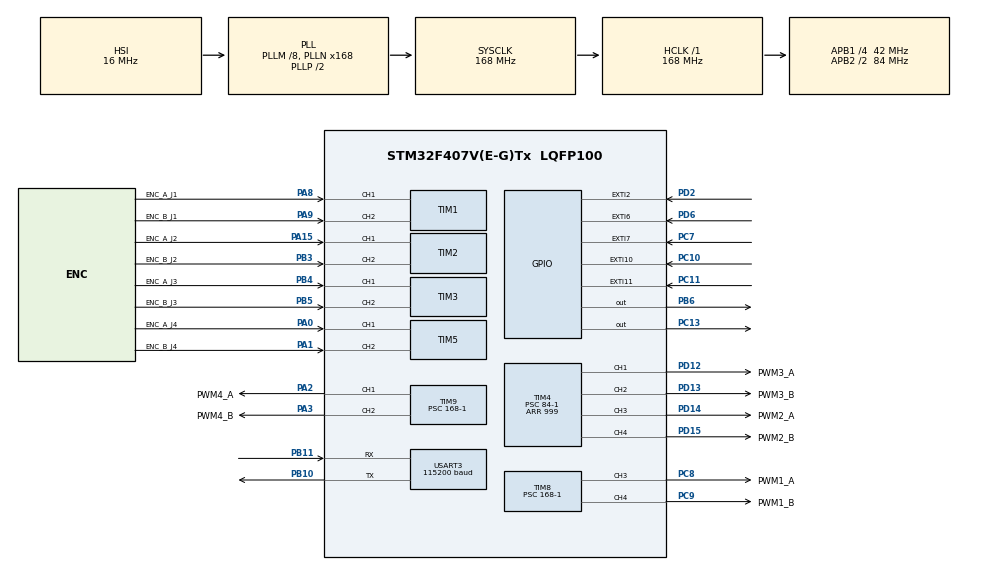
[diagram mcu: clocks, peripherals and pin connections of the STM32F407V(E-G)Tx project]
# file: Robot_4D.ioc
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Dma.Request0=USART3_RX
Dma.USART3_RX.0.Direction=DMA_PERIPH_TO_MEMORY
Dma.USART3_RX.0.FIFOMode=DMA_FIFOMODE_DISABLE
Dma.USART3_RX.0.Instance=DMA1_Stream1
Dma.USART3_RX.0.MemDataAlignment=DMA_MDATAALIGN_BYTE
Dma.USART3_RX.0.MemInc=DMA_MINC_ENABLE
Dma.USART3_RX.0.Mode=DMA_NORMAL
Dma.USART3_RX.0.PeriphDataAlignment=DMA_PDATAALIGN_BYTE
Dma.USART3_RX.0.PeriphInc=DMA_PINC_DISABLE
Dma.USART3_RX.0.Priority=DMA_PRIORITY_MEDIUM
Mcu.Family=STM32F4
Mcu.Name=STM32F407V(E-G)Tx
Mcu.Package=LQFP100
NVIC.DMA1_Stream1_IRQn=true\:3\:0\:true\:false\:true\:false\:true\:true
NVIC.EXTI15_10_IRQn=true\:1\:0\:true\:false\:true\:true\:true\:true
NVIC.EXTI2_IRQn=true\:1\:0\:true\:false\:true\:true\:true\:true
NVIC.EXTI9_5_IRQn=true\:1\:0\:true\:false\:true\:true\:true\:true
NVIC.PriorityGroup=NVIC_PRIORITYGROUP_4
NVIC.TIM1_BRK_TIM9_IRQn=true\:2\:0\:true\:false\:true\:true\:true\:true
NVIC.USART3_IRQn=true\:0\:0\:false\:false\:true\:true\:true\:true
PA0-WKUP.GPIO_Label=ENC_A_J4
PA0-WKUP.Signal=S_TIM5_CH1
PA1.GPIO_Label=ENC_B_J4
PA1.Signal=S_TIM5_CH2
PA13.Mode=Serial_Wire
PA13.Signal=SYS_JTMS-SWDIO
PA14.Mode=Serial_Wire
PA14.Signal=SYS_JTCK-SWCLK
PA15.GPIO_Label=ENC_A_J2
PA15.Signal=S_TIM2_CH1_ETR
PA2.GPIO_Label=PWM4_A
PA2.Signal=S_TIM9_CH1
PA3.GPIO_Label=PWM4_B
PA3.Signal=S_TIM9_CH2
PA8.GPIO_Label=ENC_A_J1
PA8.Signal=S_TIM1_CH1
PA9.GPIO_Label=ENC_B_J1
PA9.Signal=S_TIM1_CH2
PB10.Mode=Asynchronous
PB10.Signal=USART3_TX
PB11.Mode=Asynchronous
PB11.Signal=USART3_RX
PB3.GPIO_Label=ENC_B_J2
PB3.Signal=S_TIM2_CH2
PB4.GPIO_Label=ENC_A_J3
PB4.Signal=S_TIM3_CH1
PB5.GPIO_Label=ENC_B_J3
PB5.Signal=S_TIM3_CH2
PB6.Signal=GPIO_Output
PC10.GPIO_ModeDefaultEXTI=GPIO_MODE_IT_RISING
PC10.GPIO_PuPd=GPIO_PULLUP
PC10.Signal=GPXTI10
PC11.GPIO_ModeDefaultEXTI=GPIO_MODE_IT_RISING
PC11.GPIO_PuPd=GPIO_PULLUP
PC11.Signal=GPXTI11
PC13-ANTI_TAMP.Signal=GPIO_Output
PC7.GPIO_ModeDefaultEXTI=GPIO_MODE_IT_RISING
PC7.GPIO_PuPd=GPIO_PULLUP
PC7.Signal=GPXTI7
PC8.GPIO_Label=PWM1_A
PC8.Signal=S_TIM8_CH3
PC9.GPIO_Label=PWM1_B
PC9.Signal=S_TIM8_CH4
PD12.GPIO_Label=PWM3_A
PD12.Signal=S_TIM4_CH1
PD13.GPIO_Label=PWM3_B
PD13.Signal=S_TIM4_CH2
PD14.GPIO_Label=PWM2_A
PD14.Signal=S_TIM4_CH3
PD15.GPIO_Label=PWM2_B
PD15.Signal=S_TIM4_CH4
PD2.GPIO_ModeDefaultEXTI=GPIO_MODE_IT_RISING
PD2.GPIO_PuPd=GPIO_PULLUP
PD2.Signal=GPXTI2
PD6.GPIO_ModeDefaultEXTI=GPIO_MODE_IT_RISING
PD6.GPIO_PuPd=GPIO_PULLUP
PD6.Signal=GPXTI6
ProjectManager.HeapSize=0x200
ProjectManager.StackSize=0x400
ProjectManager.TargetToolchain=STM32CubeIDE
RCC.48MHZClocksFreq_Value=84000000
RCC.AHBFreq_Value=168000000
RCC.APB1CLKDivider=RCC_HCLK_DIV4
RCC.APB1Freq_Value=42000000
RCC.APB1TimFreq_Value=84000000
RCC.APB2CLKDivider=RCC_HCLK_DIV2
RCC.APB2Freq_Value=84000000
RCC.APB2TimFreq_Value=168000000
RCC.CortexFreq_Value=168000000
RCC.HCLKFreq_Value=168000000
RCC.HSE_VALUE=8000000
RCC.HSI_VALUE=16000000
RCC.LSE_VALUE=32768
RCC.PLLM=8
RCC.PLLN=168
RCC.SYSCLKFreq_VALUE=168000000
RCC.SYSCLKSource=RCC_SYSCLKSOURCE_PLLCLK
RCC.VCOOutputFreq_Value=336000000
SH.S_TIM1_CH1.0=TIM1_CH1,Encoder_Interface
SH.S_TIM1_CH2.0=TIM1_CH2,Encoder_Interface
SH.S_TIM2_CH1_ETR.0=TIM2_CH1,Encoder_Interface
SH.S_TIM2_CH2.0=TIM2_CH2,Encoder_Interface
SH.S_TIM3_CH1.0=TIM3_CH1,Encoder_Interface
SH.S_TIM3_CH2.0=TIM3_CH2,Encoder_Interface
SH.S_TIM4_CH1.0=TIM4_CH1,PWM Generation1 CH1
SH.S_TIM4_CH2.0=TIM4_CH2,PWM Generation2 CH2
SH.S_TIM4_CH3.0=TIM4_CH3,PWM Generation3 CH3
SH.S_TIM4_CH4.0=TIM4_CH4,PWM Generation4 CH4
SH.S_TIM5_CH1.0=TIM5_CH1,Encoder_Interface
SH.S_TIM5_CH2.0=TIM5_CH2,Encoder_Interface
SH.S_TIM8_CH3.0=TIM8_CH3,PWM Generation3 CH3
SH.S_TIM8_CH4.0=TIM8_CH4,PWM Generation4 CH4
SH.S_TIM9_CH1.0=TIM9_CH1,PWM Generation1 CH1
SH.S_TIM9_CH2.0=TIM9_CH2,PWM Generation2 CH2
TIM1.EncoderMode=TIM_ENCODERMODE_TI12
TIM2.EncoderMode=TIM_ENCODERMODE_TI12
TIM3.EncoderMode=TIM_ENCODERMODE_TI12
TIM4.Channel-PWM\ Generation1\ CH1=TIM_CHANNEL_1
TIM4.Channel-PWM\ Generation2\ CH2=TIM_CHANNEL_2
TIM4.Channel-PWM\ Generation3\ CH3=TIM_CHANNEL_3
TIM4.Channel-PWM\ Generation4\ CH4=TIM_CHANNEL_4
TIM4.Period=999
TIM4.Prescaler=84-1
TIM5.EncoderMode=TIM_ENCODERMODE_TI12
TIM8.Channel-PWM\ Generation3\ CH3=TIM_CHANNEL_3
TIM8.Channel-PWM\ Generation4\ CH4=TIM_CHANNEL_4
TIM8.Period=999
TIM8.Prescaler=168-1
TIM9.Channel-PWM\ Generation1\ CH1=TIM_CHANNEL_1
TIM9.Channel-PWM\ Generation2\ CH2=TIM_CHANNEL_2
TIM9.Period=999
TIM9.Prescaler=168-1
USART3.BaudRate=115200
USART3.VirtualMode=VM_ASYNC
VP_TIM4_VS_ClockSourceINT.Mode=Internal
VP_TIM8_VS_ClockSourceINT.Mode=Internal
VP_TIM9_VS_ClockSourceINT.Mode=Internal
board=custom

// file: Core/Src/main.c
/* USER CODE BEGIN Header */
/**
  ******************************************************************************
  * @file           : main.c
  * @brief          : Main program body
  ******************************************************************************
  * @attention
  *
  * Copyright (c) 2023 STMicroelectronics.
  * All rights reserved.
  *
  * This software is licensed under terms that can be found in the LICENSE file
  * in the root directory of this software component.
  * If no LICENSE file comes with this software, it is provided AS-IS.
  *
  ******************************************************************************
  */
/* USER CODE END Header */
#include "main.h"

/* USER CODE BEGIN Includes */
#include "MOTOR_PID_CONTROL.h"
#include <string.h>
#include <stdio.h>
#include <math.h>
/* USER CODE END Includes */

TIM_HandleTypeDef htim1;
TIM_HandleTypeDef htim2;
TIM_HandleTypeDef htim3;
TIM_HandleTypeDef htim4;
TIM_HandleTypeDef htim5;
TIM_HandleTypeDef htim8;
TIM_HandleTypeDef htim9;

UART_HandleTypeDef huart3;
DMA_HandleTypeDef hdma_usart3_rx;

/* USER CODE BEGIN PV */

#define MAX_MESG 100
char uartLogBuffer[MAX_MESG];
uint8_t flag_uart_rx = 0;
uint16_t uartLogRxSize;
float t1, t2, t3, t4;
uint8_t setHomeOk = 0;
uint8_t setHomeJ1 = 0, setHomeJ2 = 0, setHomeJ3 = 0, setHomeJ4 = 0;
typedef enum
{
	step1,
	step2,
	step3,
	step4
} setHomeState_e;

setHomeState_e flagState = step1;
uint8_t setHome234Flag = 0;
uint8_t setHome1234Flag = 0;
MOTOR_t motor1;
MOTOR_t motor2;
MOTOR_t motor3;
MOTOR_t motor4;

MOTOR_DRIVER_t driver1 = {
  .htimPWM = &htim8,
  .htimENC = &htim1,
  .EncCount = 0,
  .PWM_CH1 = TIM_CHANNEL_4,
  .PWM_CH2 = TIM_CHANNEL_3,
  .ENC_CH1 = TIM_CHANNEL_1,
  .ENC_CH2 = TIM_CHANNEL_2,
  .speed = 0,
  .pos = 0,
  .preSpeed = 0,
  .prePos = 0,
  .ratio = 33
 };
MOTOR_DRIVER_t driver2 = {
  .htimPWM = &htim4,
  .htimENC = &htim2,
  .EncCount = 0,
  .PWM_CH1 = TIM_CHANNEL_4,
  .PWM_CH2 = TIM_CHANNEL_3,
  .ENC_CH1 = TIM_CHANNEL_1,
  .ENC_CH2 = TIM_CHANNEL_2,
  .speed = 0,
  .pos = 0,
  .preSpeed = 0,
  .prePos = 0,
  .ratio = 33
};
MOTOR_DRIVER_t driver3 = {
  .htimPWM = &htim4,
  .htimENC = &htim3,
  .EncCount = 0,
  .PWM_CH1 = TIM_CHANNEL_1,
  .PWM_CH2 = TIM_CHANNEL_2,
  .ENC_CH1 = TIM_CHANNEL_1,
  .ENC_CH2 = TIM_CHANNEL_2,
  .speed = 0,
  .pos = 0,
  .preSpeed = 0,
  .prePos = 0,
  .ratio = 33
};
MOTOR_DRIVER_t driver4 = {
  .htimPWM = &htim9,
  .htimENC = &htim5,
  .EncCount = 0,
  .PWM_CH1 = TIM_CHANNEL_2,
  .PWM_CH2 = TIM_CHANNEL_1,
  .ENC_CH1 = TIM_CHANNEL_1,
  .ENC_CH2 = TIM_CHANNEL_2,
  .speed = 0,
  .pos = 0,
  .preSpeed = 0,
  .prePos = 0,
  .ratio = 4.34
};

/* USER CODE END PV */

void SystemClock_Config(void);
static void MX_GPIO_Init(void);
static void MX_DMA_Init(void);
static void MX_TIM1_Init(void);
static void MX_TIM2_Init(void);
static void MX_TIM3_Init(void);
static void MX_TIM4_Init(void);
static void MX_TIM5_Init(void);
static void MX_TIM8_Init(void);
static void MX_TIM9_Init(void);
static void MX_USART3_UART_Init(void);

/* USER CODE BEGIN 0 */
float T1, T2, T3, T4;
uint16_t Tf=4000;
float setpoint1, setpoint2, setpoint3, setpoint4;
float preSetpoint1, preSetpoint2, preSetpoint3, preSetpoint4;
float p0_1=0, p0_2=0, p0_3=0, p0_4=0;

void UART_Handle(char* data)
{
  if (flag_uart_rx == 1 && strstr(data, "\n"))
  {
	if (strstr(data, "t1"))
	{
		sscanf(data, "t1:%f,t2:%f,t3:%f,t4:%f\n", &setpoint1, &setpoint2, &setpoint3, &setpoint4);
//      sscanf(data, "t1:%f,t2:%f,t3:%f,t4:%f\n", &t1, &t2, &t3, &t4);
//      MOTOR_setAngle(&motor1, t1);
//      MOTOR_setAngle(&motor2, t2);
//      MOTOR_setAngle(&motor3, t3);
//      MOTOR_setAngle(&motor4, t4);
	}
	else if (strstr(data, "home"))
	{
		setHome234Flag = 1;
		setHome1234Flag = 1;
		setHomeJ1 = setHomeJ2 = setHomeJ3 = setHomeJ4 = 0;
		if(setHomeOk == 0) MOTOR_setAngle(&motor2, 300);
	}
	else if(strstr(data,"Reset"))
	{
		HAL_NVIC_SystemReset();
	}
	  flag_uart_rx = 0;
	  memset(data, 0, strlen(data));
  }
}
void UartIdle_Init()
{
  HAL_UARTEx_ReceiveToIdle_DMA(&huart3, (uint8_t*)uartLogBuffer, MAX_MESG);
  __HAL_DMA_DISABLE_IT(&hdma_usart3_rx, DMA_IT_HT);
}
void HAL_UARTEx_RxEventCallback(UART_HandleTypeDef* huart, uint16_t Size)
{
  if (huart->Instance == USART3)
  {
    uartLogRxSize = Size;
    flag_uart_rx = 1;
    HAL_UARTEx_ReceiveToIdle_DMA(huart, (uint8_t*)uartLogBuffer, MAX_MESG);
  }
}

float p(float p0, float pf, float tf, float v0, float vf, float T)
{
    return p0+v0*T+(3*(pf-p0)/(tf*tf)-2*v0/tf-vf/tf)*(T*T)+(-2*(pf-p0)/(tf*tf*tf)+(vf+v0)/(tf*tf))*(T*T*T);
}

void HAL_TIM_PeriodElapsedCallback(TIM_HandleTypeDef* htim)
{
	if(htim == &htim9)
	{
	  HAL_GPIO_TogglePin(GPIOC, GPIO_PIN_13);
	  static uint8_t mode = 0;
	  switch (mode)
	  {
	  case 0:
		if(T1 <= Tf)
		{
			T1 += 5;
			MOTOR_setAngle(&motor1, p(p0_1, setpoint1, Tf, 0, 0, T1));
		}
		MOTOR_runAngle(&motor1);
		mode = 1;
		break;
	  case 1:
		if(T2 <= Tf)
		{
			T2 += 5;
			MOTOR_setAngle(&motor2, p(p0_2, setpoint2, Tf, 0, 0, T2));
		}
		MOTOR_runAngle(&motor2);
		mode = 2;
		break;
	  case 2:
		if(T3 <= Tf)
		{
			T3 += 5;
			MOTOR_setAngle(&motor3, p(p0_3, setpoint3, Tf, 0, 0, T3));
		}
		MOTOR_runAngle(&motor3);
		mode = 3;
		break;
	  case 3:
		if(T4 <= Tf)
		{
			T4 += 5;
			MOTOR_setAngle(&motor4, p(p0_4, setpoint4, Tf, 0, 0, T4));
		}
		MOTOR_runAngle(&motor4);
		mode = 4;
		break;
	  case 4:
		if(setpoint1 != preSetpoint1)
		{
			T1 = 0;
			p0_1=MOTOR_getPos(&motor1);
			preSetpoint1 = setpoint1;
		}
		if(setpoint2 != preSetpoint2)
		{
			T2 = 0;
			p0_2=MOTOR_getPos(&motor2);
			preSetpoint2 = setpoint2;
		}
		if(setpoint3 != preSetpoint3)
		{
			T3 = 0;
			p0_3=MOTOR_getPos(&motor3);
			preSetpoint3 = setpoint3;
		}
		if(setpoint4 != preSetpoint4)
		{
			T4 = 0;
			p0_4=MOTOR_getPos(&motor4);
			preSetpoint4 = setpoint4;
		}
		mode = 0;
		break;
	  default:
		break;
	  }
	}
}

void SetHome(void)
{
	if(setHome1234Flag == 1 && setHomeOk == 0)
	{
		if (setHomeJ1 == 1 && setHomeJ2 == 1 && setHomeJ3 == 1 && setHomeJ4 == 1)
		{
			MOTOR_setAngle(&motor1, 0);
			MOTOR_setAngle(&motor2, -180);
			MOTOR_setAngle(&motor3, 130);
			MOTOR_setAngle(&motor4, -72);
			if(fabs(MOTOR_getPos(&motor2) + 180) < 1 && fabs(MOTOR_getPos(&motor3) - 130) < 1 && fabs(MOTOR_getPos(&motor4) + 72) < 1)
			{
				setHome234Flag = 0;
				setHome1234Flag = 0;
				setHomeOk = 1;
				MOTOR_reset(&motor2);
				MOTOR_reset(&motor3);
				MOTOR_reset(&motor4);
			}
		}
		else if(setHomeJ2 == 1 && setHomeJ3 == 1 && setHomeJ4 == 1)
		{
			if(fabs(motor1.setPoint) <= 2)
			{
				MOTOR_setAngle(&motor1, -45.0f);
			}
			else if(fabs(MOTOR_getPos(&motor1) + 45.0f) < 2 && (int)(motor1.setPoint / motor1.ratioJoint) == -45)
			{
				MOTOR_setAngle(&motor1, 45.0f);
			}
			else if(fabs(MOTOR_getPos(&motor1) - 45.0f) < 2 && (int)(motor1.setPoint / motor1.ratioJoint) == 45)
			{
				MOTOR_setAngle(&motor1, -100.0f);
			}
			else if(fabs(MOTOR_getPos(&motor1) + 100.0f) < 2)
			{
				MOTOR_setAngle(&motor1, 100.0f);
			}
		}
		if(HAL_GPIO_ReadPin(GPIOC, GPIO_PIN_7) == 1 && setHomeJ1 == 0)
		{
			setHomeJ1 = 1;
			MOTOR_reset(&motor1);
		}
		if(HAL_GPIO_ReadPin(GPIOC, GPIO_PIN_11) == 1 && setHomeJ2 == 0)
		{
			setHomeJ2 = 1;
			MOTOR_reset(&motor2);
		}
		if(HAL_GPIO_ReadPin(GPIOD, GPIO_PIN_2) == 0 && setHomeJ3 == 0)
		{
			setHomeJ3 = 1;
			MOTOR_reset(&motor3);
		}
		if(HAL_GPIO_ReadPin(GPIOD, GPIO_PIN_6) == 0 && setHomeJ4 == 0)
		{
			setHomeJ4 = 1;
			MOTOR_reset(&motor4);
		}
	}
	else if(setHome1234Flag == 1 && setHomeOk == 1)
	{
//		MOTOR_setAngle(&motor1, 0);
//		MOTOR_setAngle(&motor2, 0);
//		MOTOR_setAngle(&motor3, 0);
//		MOTOR_setAngle(&motor4, 0);
		setpoint1 = 0;
		setpoint2 = 0;
		setpoint3 = 0;
		setpoint4 = 0;
		setHome1234Flag = 0;
	}
}
void HAL_GPIO_EXTI_Callback(uint16_t GPIO_Pin)
{
	if(setHome1234Flag == 1 && setHomeOk == 0)
	{
		if(GPIO_Pin == GPIO_PIN_11 && setHomeJ2 == 0)
		{
			setHomeJ2 = 1;
			MOTOR_reset(&motor2);
			if(setHomeJ3 == 0)
			{
				MOTOR_setAngle(&motor3, -200);
			}
			if(setHomeJ4 == 0)
			{
				MOTOR_setAngle(&motor4, 200);
			}
		}
		else if(GPIO_Pin == GPIO_PIN_2 && setHomeJ3 == 0)
		{
			setHomeJ3 = 1;
			MOTOR_reset(&motor3);

		}
		else if(GPIO_Pin == GPIO_PIN_6 && setHomeJ4 == 0)
		{
			setHomeJ4 = 1;
			MOTOR_reset(&motor4);
		}
		else if(GPIO_Pin == GPIO_PIN_7 && setHomeJ1 == 0)
		{
			setHomeJ1 = 1;
			MOTOR_reset(&motor1);
		}
	}
}
/* USER CODE END 0 */

int main(void)
{

  /* MCU Configuration--------------------------------------------------------*/

  /* Reset of all peripherals, Initializes the Flash interface and the Systick. */
  HAL_Init();

  /* Configure the system clock */
  SystemClock_Config();

  /* Initialize all configured peripherals */
  MX_GPIO_Init();
  MX_DMA_Init();
  MX_TIM1_Init();
  MX_TIM2_Init();
  MX_TIM3_Init();
  MX_TIM4_Init();
  MX_TIM5_Init();
  MX_TIM8_Init();
  MX_TIM9_Init();
  MX_USART3_UART_Init();
  /* USER CODE BEGIN 2 */

  MOTOR_setPIDPosition(&motor1, 5, 0, 0, 5);
  MOTOR_setPIDVelocity(&motor1, 1, 60, 0, 5);
  MOTOR_setOutputRange(&motor1, -999, 999);
  MOTOR_setWindupRange(&motor1, -900, 900);
  MOTOR_init(&motor1, &driver1, 3.75, GPIO_PIN_7, 500);

  MOTOR_setPIDPosition(&motor2, 5, 0, 0, 5);
  MOTOR_setPIDVelocity(&motor2, 1, 60, 0, 5);
  MOTOR_setOutputRange(&motor2, -999, 999);
  MOTOR_setWindupRange(&motor2, -900, 900);
  MOTOR_init(&motor2, &driver2, 3.75, GPIO_PIN_11, 500);

  MOTOR_setPIDPosition(&motor3, 5, 0, 0, 5);
  MOTOR_setPIDVelocity(&motor3, 1, 60, 0, 5);
  MOTOR_setOutputRange(&motor3, -999, 999);
  MOTOR_setWindupRange(&motor3, -900, 900);
  MOTOR_init(&motor3, &driver3, 3.75, GPIO_PIN_2, 500);

  MOTOR_setPIDPosition(&motor4, 5, 0, 0, 5);
  MOTOR_setPIDVelocity(&motor4, 3, 50, 0, 5);
  MOTOR_setOutputRange(&motor4, -999, 999);
  MOTOR_setWindupRange(&motor4, -900, 900);
  MOTOR_init(&motor4, &driver4, 1.875, GPIO_PIN_6, 500);

  HAL_TIM_Base_Start_IT(&htim9);
  htim9.Instance->ARR = 999;
  UartIdle_Init();

  uint32_t pre_time = HAL_GetTick();
  char data_angle[30];
  /* USER CODE END 2 */

  /* Infinite loop */
  /* USER CODE BEGIN WHILE */
  while (1)
  {
    UART_Handle(uartLogBuffer);
    SetHome();
    if (HAL_GetTick() - pre_time >= 100)
    {
      sprintf(data_angle, "t1:%.0f,t2:%.0f,t3:%.0f,t4:%.0f\n", (float)MOTOR_getPos(&motor1), (float)MOTOR_getPos(&motor2), (float)MOTOR_getPos(&motor3), (float)MOTOR_getPos(&motor4));
      HAL_UART_Transmit(&huart3, (uint8_t*)data_angle, strlen(data_angle), HAL_MAX_DELAY);

      pre_time = HAL_GetTick();
    }
    /* USER CODE END WHILE */

  }
}

void SystemClock_Config(void)
{
  RCC_OscInitTypeDef RCC_OscInitStruct = {0};
  RCC_ClkInitTypeDef RCC_ClkInitStruct = {0};

  /** Configure the main internal regulator output voltage
  */
  __HAL_RCC_PWR_CLK_ENABLE();
  __HAL_PWR_VOLTAGESCALING_CONFIG(PWR_REGULATOR_VOLTAGE_SCALE1);

  /** Initializes the RCC Oscillators according to the specified parameters
  * in the RCC_OscInitTypeDef structure.
  */
  RCC_OscInitStruct.OscillatorType = RCC_OSCILLATORTYPE_HSI;
  RCC_OscInitStruct.HSIState = RCC_HSI_ON;
  RCC_OscInitStruct.HSICalibrationValue = RCC_HSICALIBRATION_DEFAULT;
  RCC_OscInitStruct.PLL.PLLState = RCC_PLL_ON;
  RCC_OscInitStruct.PLL.PLLSource = RCC_PLLSOURCE_HSI;
  RCC_OscInitStruct.PLL.PLLM = 8;
  RCC_OscInitStruct.PLL.PLLN = 168;
  RCC_OscInitStruct.PLL.PLLP = RCC_PLLP_DIV2;
  RCC_OscInitStruct.PLL.PLLQ = 4;
  if (HAL_RCC_OscConfig(&RCC_OscInitStruct) != HAL_OK)
  {
    Error_Handler();
  }

  /** Initializes the CPU, AHB and APB buses clocks
  */
  RCC_ClkInitStruct.ClockType = RCC_CLOCKTYPE_HCLK|RCC_CLOCKTYPE_SYSCLK
                              |RCC_CLOCKTYPE_PCLK1|RCC_CLOCKTYPE_PCLK2;
  RCC_ClkInitStruct.SYSCLKSource = RCC_SYSCLKSOURCE_PLLCLK;
  RCC_ClkInitStruct.AHBCLKDivider = RCC_SYSCLK_DIV1;
  RCC_ClkInitStruct.APB1CLKDivider = RCC_HCLK_DIV4;
  RCC_ClkInitStruct.APB2CLKDivider = RCC_HCLK_DIV2;

  if (HAL_RCC_ClockConfig(&RCC_ClkInitStruct, FLASH_LATENCY_5) != HAL_OK)
  {
    Error_Handler();
  }
}

static void MX_TIM1_Init(void)
{

  TIM_Encoder_InitTypeDef sConfig = {0};
  TIM_MasterConfigTypeDef sMasterConfig = {0};

  htim1.Instance = TIM1;
  htim1.Init.Prescaler = 0;
  htim1.Init.CounterMode = TIM_COUNTERMODE_UP;
  htim1.Init.Period = 65535;
  htim1.Init.ClockDivision = TIM_CLOCKDIVISION_DIV1;
  htim1.Init.RepetitionCounter = 0;
  htim1.Init.AutoReloadPreload = TIM_AUTORELOAD_PRELOAD_DISABLE;
  sConfig.EncoderMode = TIM_ENCODERMODE_TI12;
  sConfig.IC1Polarity = TIM_ICPOLARITY_RISING;
  sConfig.IC1Selection = TIM_ICSELECTION_DIRECTTI;
  sConfig.IC1Prescaler = TIM_ICPSC_DIV1;
  sConfig.IC1Filter = 0;
  sConfig.IC2Polarity = TIM_ICPOLARITY_RISING;
  sConfig.IC2Selection = TIM_ICSELECTION_DIRECTTI;
  sConfig.IC2Prescaler = TIM_ICPSC_DIV1;
  sConfig.IC2Filter = 0;
  if (HAL_TIM_Encoder_Init(&htim1, &sConfig) != HAL_OK)
  {
    Error_Handler();
  }
  sMasterConfig.MasterOutputTrigger = TIM_TRGO_RESET;
  sMasterConfig.MasterSlaveMode = TIM_MASTERSLAVEMODE_DISABLE;
  if (HAL_TIMEx_MasterConfigSynchronization(&htim1, &sMasterConfig) != HAL_OK)
  {
    Error_Handler();
  }

}

static void MX_TIM2_Init(void)
{

  TIM_Encoder_InitTypeDef sConfig = {0};
  TIM_MasterConfigTypeDef sMasterConfig = {0};

  htim2.Instance = TIM2;
  htim2.Init.Prescaler = 0;
  htim2.Init.CounterMode = TIM_COUNTERMODE_UP;
  htim2.Init.Period = 4294967295;
  htim2.Init.ClockDivision = TIM_CLOCKDIVISION_DIV1;
  htim2.Init.AutoReloadPreload = TIM_AUTORELOAD_PRELOAD_DISABLE;
  sConfig.EncoderMode = TIM_ENCODERMODE_TI12;
  sConfig.IC1Polarity = TIM_ICPOLARITY_RISING;
  sConfig.IC1Selection = TIM_ICSELECTION_DIRECTTI;
  sConfig.IC1Prescaler = TIM_ICPSC_DIV1;
  sConfig.IC1Filter = 0;
  sConfig.IC2Polarity = TIM_ICPOLARITY_RISING;
  sConfig.IC2Selection = TIM_ICSELECTION_DIRECTTI;
  sConfig.IC2Prescaler = TIM_ICPSC_DIV1;
  sConfig.IC2Filter = 0;
  if (HAL_TIM_Encoder_Init(&htim2, &sConfig) != HAL_OK)
  {
    Error_Handler();
  }
  sMasterConfig.MasterOutputTrigger = TIM_TRGO_RESET;
  sMasterConfig.MasterSlaveMode = TIM_MASTERSLAVEMODE_DISABLE;
  if (HAL_TIMEx_MasterConfigSynchronization(&htim2, &sMasterConfig) != HAL_OK)
  {
    Error_Handler();
  }

}

static void MX_TIM3_Init(void)
{

  TIM_Encoder_InitTypeDef sConfig = {0};
  TIM_MasterConfigTypeDef sMasterConfig = {0};

  htim3.Instance = TIM3;
  htim3.Init.Prescaler = 0;
  htim3.Init.CounterMode = TIM_COUNTERMODE_UP;
  htim3.Init.Period = 65535;
  htim3.Init.ClockDivision = TIM_CLOCKDIVISION_DIV1;
  htim3.Init.AutoReloadPreload = TIM_AUTORELOAD_PRELOAD_DISABLE;
  sConfig.EncoderMode = TIM_ENCODERMODE_TI12;
  sConfig.IC1Polarity = TIM_ICPOLARITY_RISING;
  sConfig.IC1Selection = TIM_ICSELECTION_DIRECTTI;
  sConfig.IC1Prescaler = TIM_ICPSC_DIV1;
  sConfig.IC1Filter = 0;
  sConfig.IC2Polarity = TIM_ICPOLARITY_RISING;
  sConfig.IC2Selection = TIM_ICSELECTION_DIRECTTI;
  sConfig.IC2Prescaler = TIM_ICPSC_DIV1;
  sConfig.IC2Filter = 0;
  if (HAL_TIM_Encoder_Init(&htim3, &sConfig) != HAL_OK)
  {
    Error_Handler();
  }
  sMasterConfig.MasterOutputTrigger = TIM_TRGO_RESET;
  sMasterConfig.MasterSlaveMode = TIM_MASTERSLAVEMODE_DISABLE;
  if (HAL_TIMEx_MasterConfigSynchronization(&htim3, &sMasterConfig) != HAL_OK)
  {
    Error_Handler();
  }

}

static void MX_TIM4_Init(void)
{

  TIM_ClockConfigTypeDef sClockSourceConfig = {0};
  TIM_MasterConfigTypeDef sMasterConfig = {0};
  TIM_OC_InitTypeDef sConfigOC = {0};

  htim4.Instance = TIM4;
  htim4.Init.Prescaler = 84-1;
  htim4.Init.CounterMode = TIM_COUNTERMODE_UP;
  htim4.Init.Period = 999;
  htim4.Init.ClockDivision = TIM_CLOCKDIVISION_DIV1;
  htim4.Init.AutoReloadPreload = TIM_AUTORELOAD_PRELOAD_DISABLE;
  if (HAL_TIM_Base_Init(&htim4) != HAL_OK)
  {
    Error_Handler();
  }
  sClockSourceConfig.ClockSource = TIM_CLOCKSOURCE_INTERNAL;
  if (HAL_TIM_ConfigClockSource(&htim4, &sClockSourceConfig) != HAL_OK)
  {
    Error_Handler();
  }
  if (HAL_TIM_PWM_Init(&htim4) != HAL_OK)
  {
    Error_Handler();
  }
  sMasterConfig.MasterOutputTrigger = TIM_TRGO_RESET;
  sMasterConfig.MasterSlaveMode = TIM_MASTERSLAVEMODE_DISABLE;
  if (HAL_TIMEx_MasterConfigSynchronization(&htim4, &sMasterConfig) != HAL_OK)
  {
    Error_Handler();
  }
  sConfigOC.OCMode = TIM_OCMODE_PWM1;
  sConfigOC.Pulse = 0;
  sConfigOC.OCPolarity = TIM_OCPOLARITY_HIGH;
  sConfigOC.OCFastMode = TIM_OCFAST_DISABLE;
  if (HAL_TIM_PWM_ConfigChannel(&htim4, &sConfigOC, TIM_CHANNEL_1) != HAL_OK)
  {
    Error_Handler();
  }
  if (HAL_TIM_PWM_ConfigChannel(&htim4, &sConfigOC, TIM_CHANNEL_2) != HAL_OK)
  {
    Error_Handler();
  }
  if (HAL_TIM_PWM_ConfigChannel(&htim4, &sConfigOC, TIM_CHANNEL_3) != HAL_OK)
  {
    Error_Handler();
  }
  if (HAL_TIM_PWM_ConfigChannel(&htim4, &sConfigOC, TIM_CHANNEL_4) != HAL_OK)
  {
    Error_Handler();
  }
  HAL_TIM_MspPostInit(&htim4);

}

static void MX_TIM5_Init(void)
{

  TIM_Encoder_InitTypeDef sConfig = {0};
  TIM_MasterConfigTypeDef sMasterConfig = {0};

  htim5.Instance = TIM5;
  htim5.Init.Prescaler = 0;
  htim5.Init.CounterMode = TIM_COUNTERMODE_UP;
  htim5.Init.Period = 4294967295;
  htim5.Init.ClockDivision = TIM_CLOCKDIVISION_DIV1;
  htim5.Init.AutoReloadPreload = TIM_AUTORELOAD_PRELOAD_DISABLE;
  sConfig.EncoderMode = TIM_ENCODERMODE_TI12;
  sConfig.IC1Polarity = TIM_ICPOLARITY_RISING;
  sConfig.IC1Selection = TIM_ICSELECTION_DIRECTTI;
  sConfig.IC1Prescaler = TIM_ICPSC_DIV1;
  sConfig.IC1Filter = 0;
  sConfig.IC2Polarity = TIM_ICPOLARITY_RISING;
  sConfig.IC2Selection = TIM_ICSELECTION_DIRECTTI;
  sConfig.IC2Prescaler = TIM_ICPSC_DIV1;
  sConfig.IC2Filter = 0;
  if (HAL_TIM_Encoder_Init(&htim5, &sConfig) != HAL_OK)
  {
    Error_Handler();
  }
  sMasterConfig.MasterOutputTrigger = TIM_TRGO_RESET;
  sMasterConfig.MasterSlaveMode = TIM_MASTERSLAVEMODE_DISABLE;
  if (HAL_TIMEx_MasterConfigSynchronization(&htim5, &sMasterConfig) != HAL_OK)
  {
    Error_Handler();
  }

}

static void MX_TIM8_Init(void)
{

  TIM_ClockConfigTypeDef sClockSourceConfig = {0};
  TIM_MasterConfigTypeDef sMasterConfig = {0};
  TIM_OC_InitTypeDef sConfigOC = {0};
  TIM_BreakDeadTimeConfigTypeDef sBreakDeadTimeConfig = {0};

  htim8.Instance = TIM8;
  htim8.Init.Prescaler = 168-1;
  htim8.Init.CounterMode = TIM_COUNTERMODE_UP;
  htim8.Init.Period = 999;
  htim8.Init.ClockDivision = TIM_CLOCKDIVISION_DIV1;
  htim8.Init.RepetitionCounter = 0;
  htim8.Init.AutoReloadPreload = TIM_AUTORELOAD_PRELOAD_DISABLE;
  if (HAL_TIM_Base_Init(&htim8) != HAL_OK)
  {
    Error_Handler();
  }
  sClockSourceConfig.ClockSource = TIM_CLOCKSOURCE_INTERNAL;
  if (HAL_TIM_ConfigClockSource(&htim8, &sClockSourceConfig) != HAL_OK)
  {
    Error_Handler();
  }
  if (HAL_TIM_PWM_Init(&htim8) != HAL_OK)
  {
    Error_Handler();
  }
  sMasterConfig.MasterOutputTrigger = TIM_TRGO_RESET;
  sMasterConfig.MasterSlaveMode = TIM_MASTERSLAVEMODE_DISABLE;
  if (HAL_TIMEx_MasterConfigSynchronization(&htim8, &sMasterConfig) != HAL_OK)
  {
    Error_Handler();
  }
  sConfigOC.OCMode = TIM_OCMODE_PWM1;
  sConfigOC.Pulse = 0;
  sConfigOC.OCPolarity = TIM_OCPOLARITY_HIGH;
  sConfigOC.OCNPolarity = TIM_OCNPOLARITY_HIGH;
  sConfigOC.OCFastMode = TIM_OCFAST_DISABLE;
  sConfigOC.OCIdleState = TIM_OCIDLESTATE_RESET;
  sConfigOC.OCNIdleState = TIM_OCNIDLESTATE_RESET;
  if (HAL_TIM_PWM_ConfigChannel(&htim8, &sConfigOC, TIM_CHANNEL_3) != HAL_OK)
  {
    Error_Handler();
  }
  if (HAL_TIM_PWM_ConfigChannel(&htim8, &sConfigOC, TIM_CHANNEL_4) != HAL_OK)
  {
    Error_Handler();
  }
  sBreakDeadTimeConfig.OffStateRunMode = TIM_OSSR_DISABLE;
  sBreakDeadTimeConfig.OffStateIDLEMode = TIM_OSSI_DISABLE;
  sBreakDeadTimeConfig.LockLevel = TIM_LOCKLEVEL_OFF;
  sBreakDeadTimeConfig.DeadTime = 0;
  sBreakDeadTimeConfig.BreakState = TIM_BREAK_DISABLE;
  sBreakDeadTimeConfig.BreakPolarity = TIM_BREAKPOLARITY_HIGH;
  sBreakDeadTimeConfig.AutomaticOutput = TIM_AUTOMATICOUTPUT_DISABLE;
  if (HAL_TIMEx_ConfigBreakDeadTime(&htim8, &sBreakDeadTimeConfig) != HAL_OK)
  {
    Error_Handler();
  }
  HAL_TIM_MspPostInit(&htim8);

}

static void MX_TIM9_Init(void)
{

  TIM_ClockConfigTypeDef sClockSourceConfig = {0};
  TIM_OC_InitTypeDef sConfigOC = {0};

  htim9.Instance = TIM9;
  htim9.Init.Prescaler = 168-1;
  htim9.Init.CounterMode = TIM_COUNTERMODE_UP;
  htim9.Init.Period = 999;
  htim9.Init.ClockDivision = TIM_CLOCKDIVISION_DIV1;
  htim9.Init.AutoReloadPreload = TIM_AUTORELOAD_PRELOAD_DISABLE;
  if (HAL_TIM_Base_Init(&htim9) != HAL_OK)
  {
    Error_Handler();
  }
  sClockSourceConfig.ClockSource = TIM_CLOCKSOURCE_INTERNAL;
  if (HAL_TIM_ConfigClockSource(&htim9, &sClockSourceConfig) != HAL_OK)
  {
    Error_Handler();
  }
  if (HAL_TIM_PWM_Init(&htim9) != HAL_OK)
  {
    Error_Handler();
  }
  sConfigOC.OCMode = TIM_OCMODE_PWM1;
  sConfigOC.Pulse = 0;
  sConfigOC.OCPolarity = TIM_OCPOLARITY_HIGH;
  sConfigOC.OCFastMode = TIM_OCFAST_DISABLE;
  if (HAL_TIM_PWM_ConfigChannel(&htim9, &sConfigOC, TIM_CHANNEL_1) != HAL_OK)
  {
    Error_Handler();
  }
  if (HAL_TIM_PWM_ConfigChannel(&htim9, &sConfigOC, TIM_CHANNEL_2) != HAL_OK)
  {
    Error_Handler();
  }
  HAL_TIM_MspPostInit(&htim9);

}

static void MX_USART3_UART_Init(void)
{

  huart3.Instance = USART3;
  huart3.Init.BaudRate = 115200;
  huart3.Init.WordLength = UART_WORDLENGTH_8B;
  huart3.Init.StopBits = UART_STOPBITS_1;
  huart3.Init.Parity = UART_PARITY_NONE;
  huart3.Init.Mode = UART_MODE_TX_RX;
  huart3.Init.HwFlowCtl = UART_HWCONTROL_NONE;
  huart3.Init.OverSampling = UART_OVERSAMPLING_16;
  if (HAL_UART_Init(&huart3) != HAL_OK)
  {
    Error_Handler();
  }

}

static void MX_DMA_Init(void)
{

  /* DMA controller clock enable */
  __HAL_RCC_DMA1_CLK_ENABLE();

  /* DMA interrupt init */
  /* DMA1_Stream1_IRQn interrupt configuration */
  HAL_NVIC_SetPriority(DMA1_Stream1_IRQn, 3, 0);
  HAL_NVIC_EnableIRQ(DMA1_Stream1_IRQn);

}

static void MX_GPIO_Init(void)
{
  GPIO_InitTypeDef GPIO_InitStruct = {0};

  /* GPIO Ports Clock Enable */
  __HAL_RCC_GPIOC_CLK_ENABLE();
  __HAL_RCC_GPIOA_CLK_ENABLE();
  __HAL_RCC_GPIOB_CLK_ENABLE();
  __HAL_RCC_GPIOD_CLK_ENABLE();

  /*Configure GPIO pin Output Level */
  HAL_GPIO_WritePin(GPIOC, GPIO_PIN_13, GPIO_PIN_RESET);

  /*Configure GPIO pin Output Level */
  HAL_GPIO_WritePin(GPIOB, GPIO_PIN_6, GPIO_PIN_RESET);

  /*Configure GPIO pin : PC13 */
  GPIO_InitStruct.Pin = GPIO_PIN_13;
  GPIO_InitStruct.Mode = GPIO_MODE_OUTPUT_PP;
  GPIO_InitStruct.Pull = GPIO_NOPULL;
  GPIO_InitStruct.Speed = GPIO_SPEED_FREQ_LOW;
  HAL_GPIO_Init(GPIOC, &GPIO_InitStruct);

  /*Configure GPIO pins : PC7 PC10 PC11 */
  GPIO_InitStruct.Pin = GPIO_PIN_7|GPIO_PIN_10|GPIO_PIN_11;
  GPIO_InitStruct.Mode = GPIO_MODE_IT_RISING;
  GPIO_InitStruct.Pull = GPIO_PULLUP;
  HAL_GPIO_Init(GPIOC, &GPIO_InitStruct);

  /*Configure GPIO pins : PD2 PD6 */
  GPIO_InitStruct.Pin = GPIO_PIN_2|GPIO_PIN_6;
  GPIO_InitStruct.Mode = GPIO_MODE_IT_RISING;
  GPIO_InitStruct.Pull = GPIO_PULLUP;
  HAL_GPIO_Init(GPIOD, &GPIO_InitStruct);

  /*Configure GPIO pin : PB6 */
  GPIO_InitStruct.Pin = GPIO_PIN_6;
  GPIO_InitStruct.Mode = GPIO_MODE_OUTPUT_PP;
  GPIO_InitStruct.Pull = GPIO_NOPULL;
  GPIO_InitStruct.Speed = GPIO_SPEED_FREQ_LOW;
  HAL_GPIO_Init(GPIOB, &GPIO_InitStruct);

  /* EXTI interrupt init*/
  HAL_NVIC_SetPriority(EXTI2_IRQn, 1, 0);
  HAL_NVIC_EnableIRQ(EXTI2_IRQn);

  HAL_NVIC_SetPriority(EXTI9_5_IRQn, 1, 0);
  HAL_NVIC_EnableIRQ(EXTI9_5_IRQn);

  HAL_NVIC_SetPriority(EXTI15_10_IRQn, 1, 0);
  HAL_NVIC_EnableIRQ(EXTI15_10_IRQn);

}

void Error_Handler(void)
{
  __disable_irq();
  while (1)
  {
  }
}
